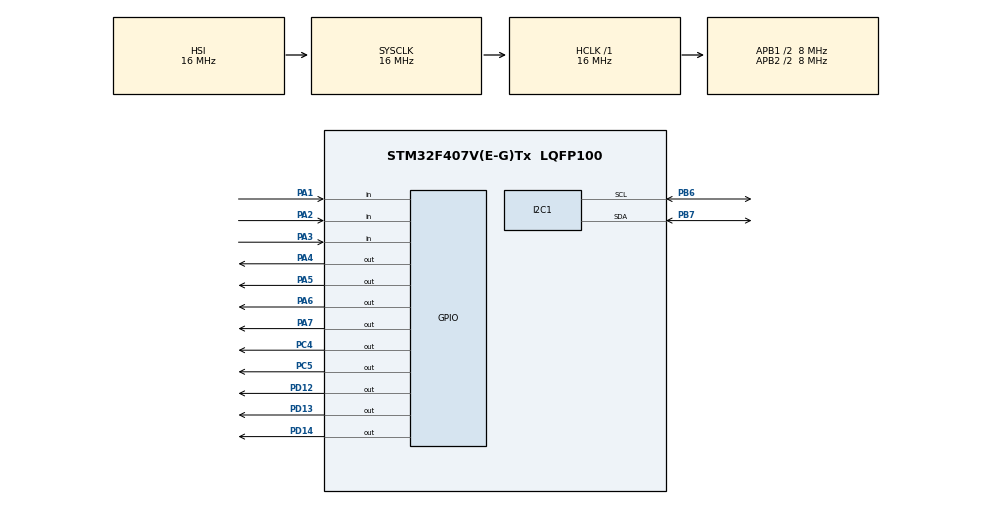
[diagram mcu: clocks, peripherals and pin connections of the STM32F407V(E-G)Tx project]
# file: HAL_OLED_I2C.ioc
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I2C1.I2C_Mode=I2C_Standard
Mcu.Family=STM32F4
Mcu.Name=STM32F407V(E-G)Tx
Mcu.Package=LQFP100
NVIC.I2C1_ER_IRQn=true\:0\:0\:false\:false\:true\:true
NVIC.I2C1_EV_IRQn=true\:0\:0\:false\:false\:true\:true
NVIC.PriorityGroup=NVIC_PRIORITYGROUP_4
PA1.GPIO_PuPd=GPIO_PULLUP
PA1.Signal=GPIO_Input
PA13.Mode=Serial_Wire
PA13.Signal=SYS_JTMS-SWDIO
PA14.Mode=Serial_Wire
PA14.Signal=SYS_JTCK-SWCLK
PA2.GPIO_PuPd=GPIO_PULLUP
PA2.Signal=GPIO_Input
PA3.GPIO_PuPd=GPIO_PULLUP
PA3.Signal=GPIO_Input
PA4.Signal=GPIO_Output
PA5.Signal=GPIO_Output
PA6.Signal=GPIO_Output
PA7.Signal=GPIO_Output
PB6.Mode=I2C
PB6.Signal=I2C1_SCL
PB7.Mode=I2C
PB7.Signal=I2C1_SDA
PC4.Signal=GPIO_Output
PC5.Signal=GPIO_Output
PD12.Signal=GPIO_Output
PD13.Signal=GPIO_Output
PD14.Signal=GPIO_Output
PH0-OSC_IN.Mode=HSE-External-Oscillator
PH0-OSC_IN.Signal=RCC_OSC_IN
PH1-OSC_OUT.Mode=HSE-External-Oscillator
PH1-OSC_OUT.Signal=RCC_OSC_OUT
ProjectManager.HeapSize=0x200
ProjectManager.StackSize=0x400
ProjectManager.TargetToolchain=MDK-ARM V5
RCC.48MHZClocksFreq_Value=48000000
RCC.AHBFreq_Value=16000000
RCC.APB1CLKDivider=RCC_HCLK_DIV2
RCC.APB1Freq_Value=8000000
RCC.APB1TimFreq_Value=16000000
RCC.APB2CLKDivider=RCC_HCLK_DIV2
RCC.APB2Freq_Value=8000000
RCC.APB2TimFreq_Value=16000000
RCC.CortexFreq_Value=16000000
RCC.HCLKFreq_Value=16000000
RCC.HSE_VALUE=25000000
RCC.HSI_VALUE=16000000
RCC.LSE_VALUE=32768
RCC.SYSCLKFreq_VALUE=16000000
RCC.VCOOutputFreq_Value=192000000
board=HAL_OLED_I2C

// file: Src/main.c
/**
  ******************************************************************************
  * @file           : main.c
  * @brief          : Main program body
  ******************************************************************************
  ** This notice applies to any and all portions of this file
  * that are not between comment pairs USER CODE BEGIN and
  * USER CODE END. Other portions of this file, whether
  * inserted by the user or by software development tools
  * are owned by their respective copyright owners.
  *
  * COPYRIGHT(c) 2018 STMicroelectronics
  *
  * Redistribution and use in source and binary forms, with or without modification,
  * are permitted provided that the following conditions are met:
  *   1. Redistributions of source code must retain the above copyright notice,
  *      this list of conditions and the following disclaimer.
  *   2. Redistributions in binary form must reproduce the above copyright notice,
  *      this list of conditions and the following disclaimer in the documentation
  *      and/or other materials provided with the distribution.
  *   3. Neither the name of STMicroelectronics nor the names of its contributors
  *      may be used to endorse or promote products derived from this software
  *      without specific prior written permission.
  *
  * THIS SOFTWARE IS PROVIDED BY THE COPYRIGHT HOLDERS AND CONTRIBUTORS "AS IS"
  * AND ANY EXPRESS OR IMPLIED WARRANTIES, INCLUDING, BUT NOT LIMITED TO, THE
  * IMPLIED WARRANTIES OF MERCHANTABILITY AND FITNESS FOR A PARTICULAR PURPOSE ARE
  * DISCLAIMED. IN NO EVENT SHALL THE COPYRIGHT HOLDER OR CONTRIBUTORS BE LIABLE
  * FOR ANY DIRECT, INDIRECT, INCIDENTAL, SPECIAL, EXEMPLARY, OR CONSEQUENTIAL
  * DAMAGES (INCLUDING, BUT NOT LIMITED TO, PROCUREMENT OF SUBSTITUTE GOODS OR
  * SERVICES; LOSS OF USE, DATA, OR PROFITS; OR BUSINESS INTERRUPTION) HOWEVER
  * CAUSED AND ON ANY THEORY OF LIABILITY, WHETHER IN CONTRACT, STRICT LIABILITY,
  * OR TORT (INCLUDING NEGLIGENCE OR OTHERWISE) ARISING IN ANY WAY OUT OF THE USE
  * OF THIS SOFTWARE, EVEN IF ADVISED OF THE POSSIBILITY OF SUCH DAMAGE.
  *
  ******************************************************************************
  */
#include "main.h"
#include "stm32f4xx_hal.h"

/* USER CODE BEGIN Includes */
#include "ssd1306.h"
#include "fonts.h"
#include "string.h"
#include "stdio.h"
/* USER CODE END Includes */

I2C_HandleTypeDef hi2c1;

/* USER CODE BEGIN PV */
/* Private variables ---------------------------------------------------------*/
char strInit[5];
char str_axis[3];
char str_mult[3];

int nroaxis;
int nromult;

/* USER CODE END PV */

void SystemClock_Config(void);
static void MX_GPIO_Init(void);
static void MX_I2C1_Init(void);

/* USER CODE BEGIN PFP */
/* Private function prototypes -----------------------------------------------*/
void InitOLED(char* strInit);
void MenuOLED(char* str_axis, char* str_mult);
void AxisOLED(char* str_axis);
void MultOLED(char* str_mult);
void initLED(void);
/* USER CODE END PFP */

int main(void)
{

  /* MCU Configuration----------------------------------------------------------*/

  /* Reset of all peripherals, Initializes the Flash interface and the Systick. */
  HAL_Init();

  /* Configure the system clock */
  SystemClock_Config();

  /* Initialize all configured peripherals */
  MX_GPIO_Init();
  MX_I2C1_Init();
  /* USER CODE BEGIN 2 */
	ssd1306_Init();
	InitOLED("bts");
	HAL_Delay(3000);
	MenuOLED("X","  *1");
	initLED();
	nroaxis = 0;
	nromult = 0;
  /* USER CODE END 2 */

  /* Infinite loop */
  while (1)
  {

  /* USER CODE BEGIN 3 */
	//Axis
	if(HAL_GPIO_ReadPin(GPIOA, GPIO_PIN_1) == GPIO_PIN_RESET)
	{
		switch(nroaxis)
		{
			case 0:
				AxisOLED("Y");
				HAL_GPIO_WritePin(GPIOA, GPIO_PIN_5, GPIO_PIN_SET);
				HAL_GPIO_WritePin(GPIOA, GPIO_PIN_4, GPIO_PIN_RESET);
				HAL_GPIO_WritePin(GPIOA, GPIO_PIN_6, GPIO_PIN_RESET);
				nroaxis++;
				break;
			case 1:
				AxisOLED("Z");
				HAL_GPIO_WritePin(GPIOA, GPIO_PIN_6, GPIO_PIN_SET);
				HAL_GPIO_WritePin(GPIOA, GPIO_PIN_4, GPIO_PIN_RESET);
				HAL_GPIO_WritePin(GPIOA, GPIO_PIN_5, GPIO_PIN_RESET);
				nroaxis++;
				break;
			case 2:
				AxisOLED("X");
				HAL_GPIO_WritePin(GPIOA, GPIO_PIN_4, GPIO_PIN_SET);
				HAL_GPIO_WritePin(GPIOA, GPIO_PIN_5, GPIO_PIN_RESET);
				HAL_GPIO_WritePin(GPIOA, GPIO_PIN_6, GPIO_PIN_RESET);
				nroaxis++;
				break;
			}
		if(nroaxis == 3)
			nroaxis = 0;
		HAL_Delay(150);
		}
	//Mult
	if(HAL_GPIO_ReadPin(GPIOA, GPIO_PIN_3) == GPIO_PIN_RESET)
	{
		switch(nromult)
		{
			case 0:
				MultOLED(" *10");
				HAL_GPIO_WritePin(GPIOC, GPIO_PIN_4, GPIO_PIN_SET);
				HAL_GPIO_WritePin(GPIOA, GPIO_PIN_7, GPIO_PIN_RESET);
				HAL_GPIO_WritePin(GPIOC, GPIO_PIN_5, GPIO_PIN_RESET);
				nromult++;
				break;
			case 1:
				MultOLED("*100");
				HAL_GPIO_WritePin(GPIOC, GPIO_PIN_5, GPIO_PIN_SET);
				HAL_GPIO_WritePin(GPIOA, GPIO_PIN_7, GPIO_PIN_RESET);
				HAL_GPIO_WritePin(GPIOC, GPIO_PIN_4, GPIO_PIN_RESET);
				nromult++;
				break;
			case 2:
				MultOLED("  *1");
				HAL_GPIO_WritePin(GPIOA, GPIO_PIN_7, GPIO_PIN_SET);
				HAL_GPIO_WritePin(GPIOC, GPIO_PIN_4, GPIO_PIN_RESET);
				HAL_GPIO_WritePin(GPIOC, GPIO_PIN_5, GPIO_PIN_RESET);
				nromult++;
				break;
			}
		if(nromult == 3)
			nromult = 0;
		HAL_Delay(150);
		}
	}
  /* USER CODE END 3 */

}
void SystemClock_Config(void)
{

  RCC_OscInitTypeDef RCC_OscInitStruct;
  RCC_ClkInitTypeDef RCC_ClkInitStruct;

    /**Configure the main internal regulator output voltage
    */
  __HAL_RCC_PWR_CLK_ENABLE();

  __HAL_PWR_VOLTAGESCALING_CONFIG(PWR_REGULATOR_VOLTAGE_SCALE1);

    /**Initializes the CPU, AHB and APB busses clocks
    */
  RCC_OscInitStruct.OscillatorType = RCC_OSCILLATORTYPE_HSI;
  RCC_OscInitStruct.HSIState = RCC_HSI_ON;
  RCC_OscInitStruct.HSICalibrationValue = 16;
  RCC_OscInitStruct.PLL.PLLState = RCC_PLL_NONE;
  if (HAL_RCC_OscConfig(&RCC_OscInitStruct) != HAL_OK)
  {
    _Error_Handler(__FILE__, __LINE__);
  }

    /**Initializes the CPU, AHB and APB busses clocks
    */
  RCC_ClkInitStruct.ClockType = RCC_CLOCKTYPE_HCLK|RCC_CLOCKTYPE_SYSCLK
                              |RCC_CLOCKTYPE_PCLK1|RCC_CLOCKTYPE_PCLK2;
  RCC_ClkInitStruct.SYSCLKSource = RCC_SYSCLKSOURCE_HSI;
  RCC_ClkInitStruct.AHBCLKDivider = RCC_SYSCLK_DIV1;
  RCC_ClkInitStruct.APB1CLKDivider = RCC_HCLK_DIV2;
  RCC_ClkInitStruct.APB2CLKDivider = RCC_HCLK_DIV2;

  if (HAL_RCC_ClockConfig(&RCC_ClkInitStruct, FLASH_LATENCY_0) != HAL_OK)
  {
    _Error_Handler(__FILE__, __LINE__);
  }

    /**Configure the Systick interrupt time
    */
  HAL_SYSTICK_Config(HAL_RCC_GetHCLKFreq()/1000);

    /**Configure the Systick
    */
  HAL_SYSTICK_CLKSourceConfig(SYSTICK_CLKSOURCE_HCLK);

  /* SysTick_IRQn interrupt configuration */
  HAL_NVIC_SetPriority(SysTick_IRQn, 0, 0);
}

/* I2C1 init function */
static void MX_I2C1_Init(void)
{

  hi2c1.Instance = I2C1;
  hi2c1.Init.ClockSpeed = 100000;
  hi2c1.Init.DutyCycle = I2C_DUTYCYCLE_2;
  hi2c1.Init.OwnAddress1 = 0;
  hi2c1.Init.AddressingMode = I2C_ADDRESSINGMODE_7BIT;
  hi2c1.Init.DualAddressMode = I2C_DUALADDRESS_DISABLE;
  hi2c1.Init.OwnAddress2 = 0;
  hi2c1.Init.GeneralCallMode = I2C_GENERALCALL_DISABLE;
  hi2c1.Init.NoStretchMode = I2C_NOSTRETCH_DISABLE;
  if (HAL_I2C_Init(&hi2c1) != HAL_OK)
  {
    _Error_Handler(__FILE__, __LINE__);
  }

}

/** Configure pins as
        * Analog
        * Input
        * Output
        * EVENT_OUT
        * EXTI
*/
static void MX_GPIO_Init(void)
{

  GPIO_InitTypeDef GPIO_InitStruct;

  /* GPIO Ports Clock Enable */
  __HAL_RCC_GPIOH_CLK_ENABLE();
  __HAL_RCC_GPIOA_CLK_ENABLE();
  __HAL_RCC_GPIOC_CLK_ENABLE();
  __HAL_RCC_GPIOD_CLK_ENABLE();
  __HAL_RCC_GPIOB_CLK_ENABLE();

  /*Configure GPIO pin Output Level */
  HAL_GPIO_WritePin(GPIOA, GPIO_PIN_4|GPIO_PIN_5|GPIO_PIN_6|GPIO_PIN_7, GPIO_PIN_RESET);

  /*Configure GPIO pin Output Level */
  HAL_GPIO_WritePin(GPIOC, GPIO_PIN_4|GPIO_PIN_5, GPIO_PIN_RESET);

  /*Configure GPIO pin Output Level */
  HAL_GPIO_WritePin(GPIOD, GPIO_PIN_12|GPIO_PIN_13|GPIO_PIN_14, GPIO_PIN_RESET);

  /*Configure GPIO pins : PA1 PA2 PA3 */
  GPIO_InitStruct.Pin = GPIO_PIN_1|GPIO_PIN_2|GPIO_PIN_3;
  GPIO_InitStruct.Mode = GPIO_MODE_INPUT;
  GPIO_InitStruct.Pull = GPIO_PULLUP;
  HAL_GPIO_Init(GPIOA, &GPIO_InitStruct);

  /*Configure GPIO pins : PA4 PA5 PA6 PA7 */
  GPIO_InitStruct.Pin = GPIO_PIN_4|GPIO_PIN_5|GPIO_PIN_6|GPIO_PIN_7;
  GPIO_InitStruct.Mode = GPIO_MODE_OUTPUT_PP;
  GPIO_InitStruct.Pull = GPIO_NOPULL;
  GPIO_InitStruct.Speed = GPIO_SPEED_FREQ_LOW;
  HAL_GPIO_Init(GPIOA, &GPIO_InitStruct);

  /*Configure GPIO pins : PC4 PC5 */
  GPIO_InitStruct.Pin = GPIO_PIN_4|GPIO_PIN_5;
  GPIO_InitStruct.Mode = GPIO_MODE_OUTPUT_PP;
  GPIO_InitStruct.Pull = GPIO_NOPULL;
  GPIO_InitStruct.Speed = GPIO_SPEED_FREQ_LOW;
  HAL_GPIO_Init(GPIOC, &GPIO_InitStruct);

  /*Configure GPIO pins : PD12 PD13 PD14 */
  GPIO_InitStruct.Pin = GPIO_PIN_12|GPIO_PIN_13|GPIO_PIN_14;
  GPIO_InitStruct.Mode = GPIO_MODE_OUTPUT_PP;
  GPIO_InitStruct.Pull = GPIO_NOPULL;
  GPIO_InitStruct.Speed = GPIO_SPEED_FREQ_LOW;
  HAL_GPIO_Init(GPIOD, &GPIO_InitStruct);

}

/* USER CODE BEGIN 4 */
void initLED(void)
{
	HAL_GPIO_WritePin(GPIOA, GPIO_PIN_4, GPIO_PIN_SET);
	HAL_GPIO_WritePin(GPIOA, GPIO_PIN_5, GPIO_PIN_RESET);
	HAL_GPIO_WritePin(GPIOA, GPIO_PIN_6, GPIO_PIN_RESET);
	HAL_GPIO_WritePin(GPIOA, GPIO_PIN_7, GPIO_PIN_SET);
	HAL_GPIO_WritePin(GPIOC, GPIO_PIN_4, GPIO_PIN_RESET);
	HAL_GPIO_WritePin(GPIOC, GPIO_PIN_5, GPIO_PIN_RESET);
}
void InitOLED(char* strInit)
{
	ssd1306_Fill(Black);				//fill black
	ssd1306_SetCursor(40,2);			//position
	ssd1306_WriteString(strInit, Font_16x26, White);
	ssd1306_UpdateScreen();			//update OLED
}
/*void ConnectOLED()
{
	ssd1306_Fill(Black);				//fill black
	ssd1306_SetCursor(30,60);			//position
	ssd1306_WriteString(strConnect, Font_7x10, White);
	ssd1306_UpdateScreen();			//update OLED
}
*/
void MenuOLED(char* str_axis, char* str_mult)
{

	ssd1306_Fill(Black);				//fill black
	ssd1306_SetCursor(25,8);			//position
	ssd1306_WriteString(str_axis, Font_11x18, White);
	ssd1306_SetCursor(55,3);			//position
	ssd1306_WriteString("|", Font_16x26, White);
	ssd1306_SetCursor(80,8);			//position
	ssd1306_WriteString(str_mult, Font_11x18, White);

	ssd1306_UpdateScreen();			//update OLED
}

void AxisOLED(char* str_axis)
{
	ssd1306_SetCursor(25,8);			//position
	ssd1306_WriteString(str_axis, Font_11x18, White);
	ssd1306_UpdateScreen();			//update OLED
}
void MultOLED(char* str_mult)
{
	ssd1306_SetCursor(80,8);			//position
	ssd1306_WriteString(str_mult, Font_11x18, White);
	ssd1306_UpdateScreen();			//update OLED
}
/* USER CODE END 4 */

void _Error_Handler(char *file, int line)
{
  while(1)
  {
  }
}

/************************ (C) COPYRIGHT STMicroelectronics *****END OF FILE****/
